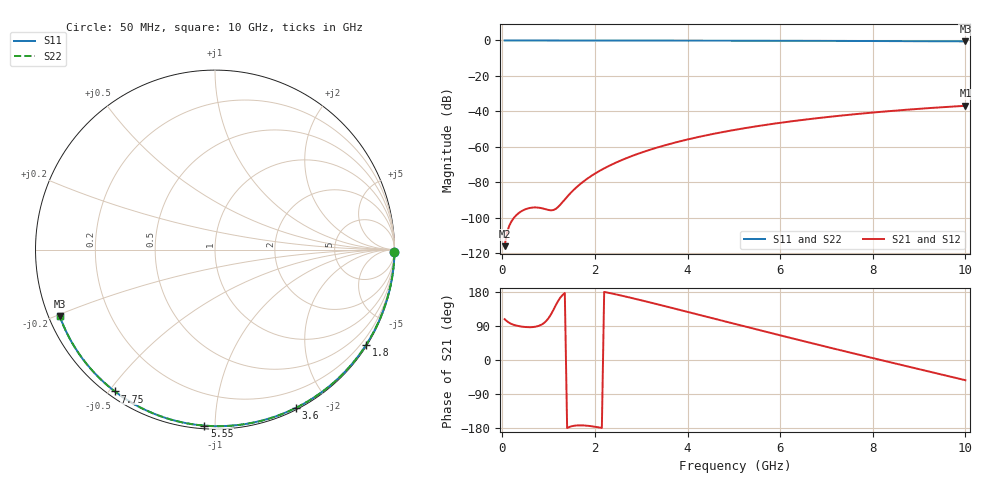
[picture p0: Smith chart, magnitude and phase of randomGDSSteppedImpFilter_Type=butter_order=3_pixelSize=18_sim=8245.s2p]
! freq	dB(S11)	phase(S11)	dB(S12)	phase(S12)
!  dB(S21)	phase(S21)	dB(S22)	phase(S22)
!S-par simulation data
#  GHz  S  DB  R 50
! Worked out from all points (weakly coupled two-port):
!   200 points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, 50 MHz to 10 GHz, reference 50 ohm
!   highest |S21| = -36.82 dB at 10 GHz (marker M1); lowest = -115.9 dB at 50 MHz (marker M2)
!   lowest |S11| = -0.5 dB at 10 GHz (marker M3), VSWR 33.14, Z = 1.57 - j10.3 ohm
!   |S11| at or under -10 dB: nowhere
!   |S22| runs from -0.5 to 0.0 dB; largest |S21 - S12| = 0
!   S11 on the Smith chart (normalised r, x): 50 MHz: open; 1.8 GHz: 0.03, -3.45; 3.6 GHz: 0.02, -1.63; 5.55 GHz: 0.02, -0.94; 7.75 GHz: 0.02, -0.52; 10 GHz: 0.03, -0.21
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0.05  -0.00 -0.9  -115.90 107.7  -115.90 107.7  -0.00 -0.9
0.45  -0.01 -8.2  -95.68 87.6  -95.68 87.6  -0.01 -8.2
0.9  -0.02 -16.4  -94.81 97.5  -94.81 97.5  -0.02 -16.3
1.7  -0.04 -30.6  -80.54 -172.4  -80.54 -172.4  -0.04 -30.6
1.75  -0.04 -31.5  -79.51 -172.7  -79.51 -172.7  -0.04 -31.5
1.8  -0.04 -32.3  -78.53 -173.1  -78.53 -173.1  -0.04 -32.3
1.95  -0.04 -35.0  -75.85 -175.2  -75.85 -175.2  -0.04 -35.0
2.1  -0.05 -37.6  -73.49 -178.1  -73.49 -178.1  -0.05 -37.6
2.3  -0.05 -41.0  -70.72 177.2  -70.72 177.2  -0.05 -41.0
2.5  -0.06 -44.5  -68.28 172.0  -68.28 172.0  -0.06 -44.5
2.9  -0.07 -51.3  -64.12 160.6  -64.12 160.6  -0.07 -51.3
3.4  -0.08 -59.6  -59.90 145.5  -59.90 145.5  -0.08 -59.6
3.6  -0.08 -62.9  -58.43 139.4  -58.43 139.4  -0.08 -62.9
4.3  -0.11 -74.2  -54.02 117.7  -54.02 117.7  -0.10 -74.2
5.05  -0.13 -85.9  -50.23 94.4  -50.23 94.4  -0.13 -85.9
5.55  -0.15 -93.5  -48.10 78.9  -48.10 78.9  -0.15 -93.4
6.1  -0.18 -101.6  -46.05 62.0  -46.05 62.0  -0.18 -101.6
6.7  -0.21 -110.3  -44.09 43.8  -44.09 43.8  -0.21 -110.3
7.75  -0.29 -125.2  -41.21 12.4  -41.21 12.4  -0.29 -125.2
8.35  -0.34 -133.6  -39.82 -5.2  -39.82 -5.2  -0.34 -133.6
9.2  -0.43 -145.4  -38.13 -30.1  -38.13 -30.1  -0.43 -145.4
10  -0.52 -156.7  -36.82 -53.3  -36.82 -53.3  -0.52 -156.7
